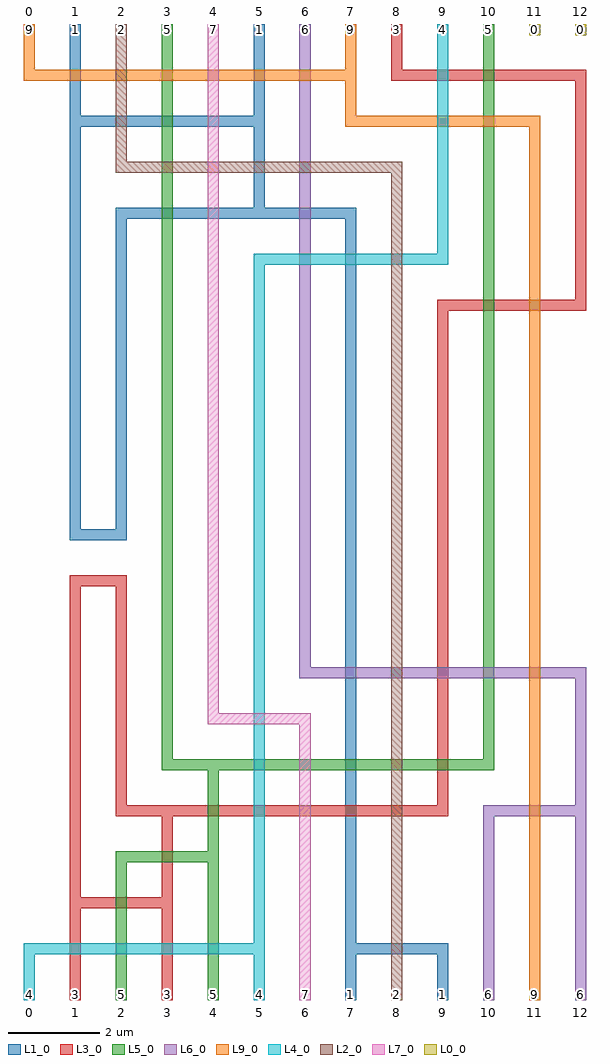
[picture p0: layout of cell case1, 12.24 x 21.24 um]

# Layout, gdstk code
import gdstk
lib = gdstk.Library(unit=1e-6, precision=1e-09)
def R(c, l, rs):  # rectangles x0, y0, x1, y1
    for r in rs: c.add(gdstk.rectangle(r[:2], r[2:], *l))
L0_0 = (0, 0)
L1_0 = (1, 0)
L2_0 = (2, 0)
L3_0 = (3, 0)
L4_0 = (4, 0)
L5_0 = (5, 0)
L6_0 = (6, 0)
L7_0 = (7, 0)
L9_0 = (9, 0)

case1 = lib.new_cell('case1')
R(case1, L0_0, [(10.88,20.88,11.12,21.12), (11.88,20.88,12.12,21.12)])
R(case1, L1_0, [(6.88,-0.12,7.12,1.12), (6.88,-0.12,7.12,0.12), (8.88,-0.12,9.12,1.12), (8.88,-0.12,9.12,0.12), (6.88,0.88,7.12,17.12), (6.88,0.88,9.12,1.12), (0.88,9.88,1.12,19.12), (0.88,9.88,2.12,10.12), (1.88,9.88,2.12,17.12), (1.88,16.88,7.12,17.12), (4.88,16.88,5.12,19.12), (0.88,18.88,1.12,21.12), (0.88,18.88,5.12,19.12), (4.88,18.88,5.12,21.12), (0.88,20.88,1.12,21.12), (4.88,20.88,5.12,21.12)])
R(case1, L2_0, [(7.88,-0.12,8.12,2.12), (7.88,-0.12,8.12,0.12), (7.88,1.88,8.12,18.12), (1.88,17.88,2.12,21.12), (1.88,17.88,8.12,18.12), (1.88,20.88,2.12,21.12)])
R(case1, L3_0, [(0.88,-0.12,1.12,2.12), (0.88,-0.12,1.12,0.12), (2.88,-0.12,3.12,2.12), (2.88,-0.12,3.12,0.12), (0.88,1.88,1.12,9.12), (0.88,1.88,3.12,2.12), (2.88,1.88,3.12,4.12), (1.88,3.88,2.12,9.12), (1.88,3.88,9.12,4.12), (8.88,3.88,9.12,15.12), (0.88,8.88,2.12,9.12), (8.88,14.88,12.12,15.12), (11.88,14.88,12.12,20.12), (7.88,19.88,8.12,21.12), (7.88,19.88,12.12,20.12), (7.88,20.88,8.12,21.12)])
R(case1, L4_0, [(-0.12,-0.12,0.12,1.12), (-0.12,-0.12,0.12,0.12), (4.88,-0.12,5.12,1.12), (4.88,-0.12,5.12,0.12), (-0.12,0.88,5.12,1.12), (4.88,0.88,5.12,16.12), (4.88,15.88,9.12,16.12), (8.88,15.88,9.12,18.12), (8.88,17.88,9.12,21.12), (8.88,20.88,9.12,21.12)])
R(case1, L5_0, [(1.88,-0.12,2.12,3.12), (1.88,-0.12,2.12,0.12), (3.88,-0.12,4.12,2.12), (3.88,-0.12,4.12,0.12), (3.88,1.88,4.12,5.12), (1.88,2.88,4.12,3.12), (2.88,4.88,3.12,16.12), (2.88,4.88,10.12,5.12), (9.88,4.88,10.12,18.12), (2.88,15.88,3.12,21.12), (9.88,17.88,10.12,21.12), (2.88,20.88,3.12,21.12), (9.88,20.88,10.12,21.12)])
R(case1, L6_0, [(9.88,-0.12,10.12,1.12), (9.88,-0.12,10.12,0.12), (11.88,-0.12,12.12,1.12), (11.88,-0.12,12.12,0.12), (9.88,0.88,10.12,4.12), (11.88,0.88,12.12,7.12), (9.88,3.88,12.12,4.12), (5.88,6.88,6.12,19.12), (5.88,6.88,12.12,7.12), (5.88,18.88,6.12,21.12), (5.88,20.88,6.12,21.12)])
R(case1, L7_0, [(5.88,-0.12,6.12,1.12), (5.88,-0.12,6.12,0.12), (5.88,0.88,6.12,6.12), (3.88,5.88,4.12,16.12), (3.88,5.88,6.12,6.12), (3.88,15.88,4.12,21.12), (3.88,20.88,4.12,21.12)])
R(case1, L9_0, [(10.88,-0.12,11.12,1.12), (10.88,-0.12,11.12,0.12), (10.88,0.88,11.12,19.12), (6.88,18.88,7.12,20.12), (6.88,18.88,11.12,19.12), (-0.12,19.88,0.12,21.12), (-0.12,19.88,7.12,20.12), (6.88,19.88,7.12,21.12), (-0.12,20.88,0.12,21.12), (6.88,20.88,7.12,21.12)])
case1.add(gdstk.Label('0', (0,21.4), layer=215, texttype=1))
case1.add(gdstk.Label('9', (0,21), layer=215, texttype=1))
case1.add(gdstk.Label('1', (1,21.4), layer=215, texttype=1))
case1.add(gdstk.Label('1', (1,21), layer=215, texttype=1))
case1.add(gdstk.Label('2', (2,21.4), layer=215, texttype=1))
case1.add(gdstk.Label('2', (2,21), layer=215, texttype=1))
case1.add(gdstk.Label('3', (3,21.4), layer=215, texttype=1))
case1.add(gdstk.Label('5', (3,21), layer=215, texttype=1))
case1.add(gdstk.Label('4', (4,21.4), layer=215, texttype=1))
case1.add(gdstk.Label('7', (4,21), layer=215, texttype=1))
case1.add(gdstk.Label('5', (5,21.4), layer=215, texttype=1))
case1.add(gdstk.Label('1', (5,21), layer=215, texttype=1))
case1.add(gdstk.Label('6', (6,21.4), layer=215, texttype=1))
case1.add(gdstk.Label('6', (6,21), layer=215, texttype=1))
case1.add(gdstk.Label('7', (7,21.4), layer=215, texttype=1))
case1.add(gdstk.Label('9', (7,21), layer=215, texttype=1))
case1.add(gdstk.Label('8', (8,21.4), layer=215, texttype=1))
case1.add(gdstk.Label('3', (8,21), layer=215, texttype=1))
case1.add(gdstk.Label('9', (9,21.4), layer=215, texttype=1))
case1.add(gdstk.Label('4', (9,21), layer=215, texttype=1))
case1.add(gdstk.Label('10', (10,21.4), layer=215, texttype=1))
case1.add(gdstk.Label('5', (10,21), layer=215, texttype=1))
case1.add(gdstk.Label('11', (11,21.4), layer=215, texttype=1))
case1.add(gdstk.Label('0', (11,21), layer=215, texttype=1))
case1.add(gdstk.Label('12', (12,21.4), layer=215, texttype=1))
case1.add(gdstk.Label('0', (12,21), layer=215, texttype=1))
case1.add(gdstk.Label('0', (0,-0.4), layer=215, texttype=1))
case1.add(gdstk.Label('4', (0,0), layer=215, texttype=1))
case1.add(gdstk.Label('1', (1,-0.4), layer=215, texttype=1))
case1.add(gdstk.Label('3', (1,0), layer=215, texttype=1))
case1.add(gdstk.Label('2', (2,-0.4), layer=215, texttype=1))
case1.add(gdstk.Label('5', (2,0), layer=215, texttype=1))
case1.add(gdstk.Label('3', (3,-0.4), layer=215, texttype=1))
case1.add(gdstk.Label('3', (3,0), layer=215, texttype=1))
case1.add(gdstk.Label('4', (4,-0.4), layer=215, texttype=1))
case1.add(gdstk.Label('5', (4,0), layer=215, texttype=1))
case1.add(gdstk.Label('5', (5,-0.4), layer=215, texttype=1))
case1.add(gdstk.Label('4', (5,0), layer=215, texttype=1))
case1.add(gdstk.Label('6', (6,-0.4), layer=215, texttype=1))
case1.add(gdstk.Label('7', (6,0), layer=215, texttype=1))
case1.add(gdstk.Label('7', (7,-0.4), layer=215, texttype=1))
case1.add(gdstk.Label('1', (7,0), layer=215, texttype=1))
case1.add(gdstk.Label('8', (8,-0.4), layer=215, texttype=1))
case1.add(gdstk.Label('2', (8,0), layer=215, texttype=1))
case1.add(gdstk.Label('9', (9,-0.4), layer=215, texttype=1))
case1.add(gdstk.Label('1', (9,0), layer=215, texttype=1))
case1.add(gdstk.Label('10', (10,-0.4), layer=215, texttype=1))
case1.add(gdstk.Label('6', (10,0), layer=215, texttype=1))
case1.add(gdstk.Label('11', (11,-0.4), layer=215, texttype=1))
case1.add(gdstk.Label('9', (11,0), layer=215, texttype=1))
case1.add(gdstk.Label('12', (12,-0.4), layer=215, texttype=1))
case1.add(gdstk.Label('6', (12,0), layer=215, texttype=1))

lib.write_gds('case1.gds')
